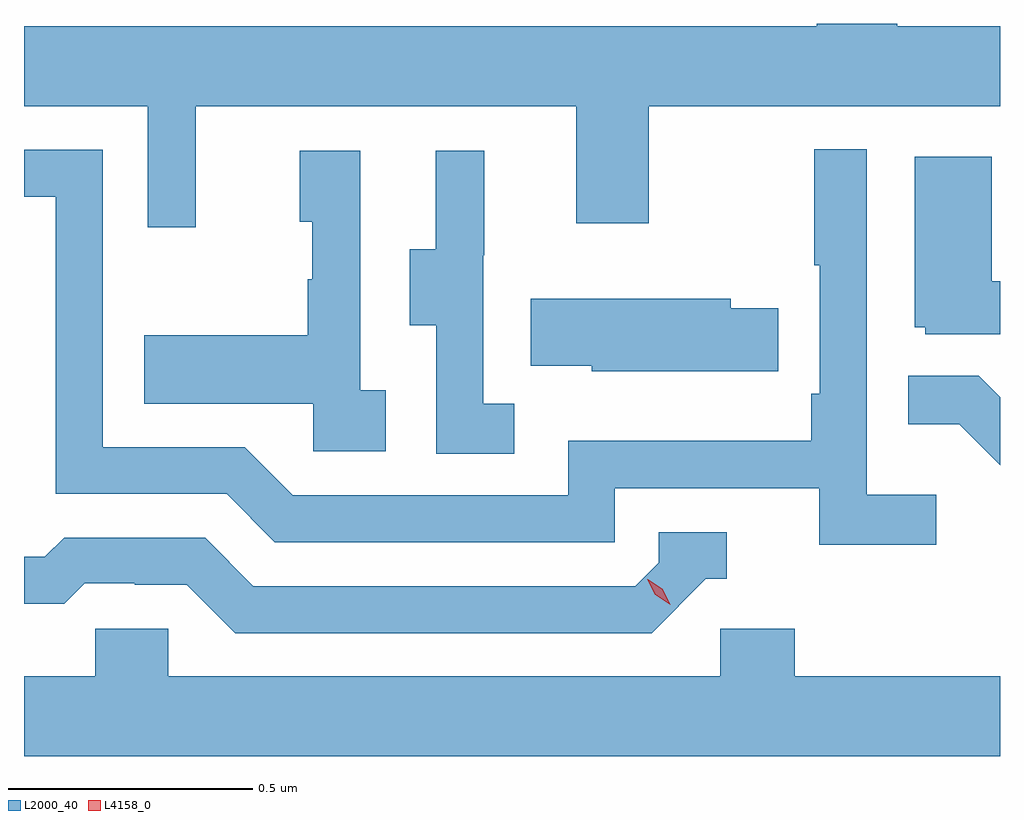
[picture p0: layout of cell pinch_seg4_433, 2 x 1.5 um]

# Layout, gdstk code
import gdstk
lib = gdstk.Library(unit=1e-6, precision=1e-09)
def P(c, l, *ps):  # polygons
    for p in ps: c.add(gdstk.Polygon(p, *l))
L2000_40 = (2000, 40)
L4158_0 = (4158, 0)

pinch_seg4_433 = lib.new_cell('pinch_seg4_433')
P(pinch_seg4_433, L2000_40, [(952.859,779.504),(953.639,779.504),(953.639,779.265),(953.787,779.265),(953.787,779.504),(954.507,779.504),(954.507,779.668),(954.296,779.668),(954.296,779.674),(954.131,779.674),(954.131,779.668),(952.507,779.668),(952.507,779.504),(952.761,779.504),(952.761,779.256),(952.859,779.256)],
  [(954.376,778.708),(954.234,778.708),(954.234,779.416),(954.126,779.416),(954.126,779.179),(954.138,779.179),(954.138,778.915),(954.12,778.915),(954.12,778.819),(953.622,778.819),(953.622,778.707),(953.058,778.707),(952.959,778.806),(952.668,778.806),(952.668,779.415),(952.507,779.415),(952.507,779.319),(952.572,779.319),(952.572,778.71),(952.922,778.71),(953.021,778.611),(953.718,778.611),(953.718,778.722),(954.137,778.722),(954.137,778.606),(954.376,778.606)],
  [(953.512,778.895),(953.448,778.895),(953.448,779.199),(953.45,779.199),(953.45,779.413),(953.351,779.413),(953.351,779.211),(953.297,779.211),(953.297,779.056),(953.352,779.056),(953.352,778.792),(953.512,778.792)],
  [(953.248,778.922),(953.196,778.922),(953.196,779.413),(953.072,779.413),(953.072,779.268),(953.098,779.268),(953.098,779.15),(953.088,779.15),(953.088,779.035),(952.753,779.035),(952.753,778.895),(953.1,778.895),(953.1,778.797),(953.248,778.797)],
  [(954.507,779.146),(954.49,779.146),(954.49,779.401),(954.332,779.401),(954.332,779.052),(954.354,779.052),(954.354,779.037),(954.507,779.037)],
  [(954.053,779.091),(953.955,779.091),(953.955,779.11),(953.545,779.11),(953.545,778.973),(953.67,778.973),(953.67,778.961),(954.053,778.961)],
  [(954.507,778.908),(954.463,778.952),(954.319,778.952),(954.319,778.853),(954.423,778.853),(954.507,778.769)],
  [(953.904,778.536),(953.947,778.536),(953.947,778.632),(953.808,778.632),(953.808,778.569),(953.76,778.521),(952.977,778.521),(952.878,778.62),(952.589,778.62),(952.55,778.581),(952.507,778.581),(952.507,778.485),(952.589,778.485),(952.631,778.527),(952.734,778.527),(952.734,778.524),(952.841,778.524),(952.94,778.425),(953.793,778.425)],
  [(954.507,778.336),(954.086,778.336),(954.086,778.434),(953.934,778.434),(953.934,778.336),(952.803,778.336),(952.803,778.434),(952.653,778.434),(952.653,778.336),(952.507,778.336),(952.507,778.172),(954.507,778.172)])
P(pinch_seg4_433, L4158_0, [(953.831,778.483),(953.801,778.503),(953.784,778.535),(953.784,778.535),(953.785,778.535),(953.815,778.516),(953.831,778.484),(953.831,778.483)])

lib.write_gds('pinch_seg4_433.gds')
